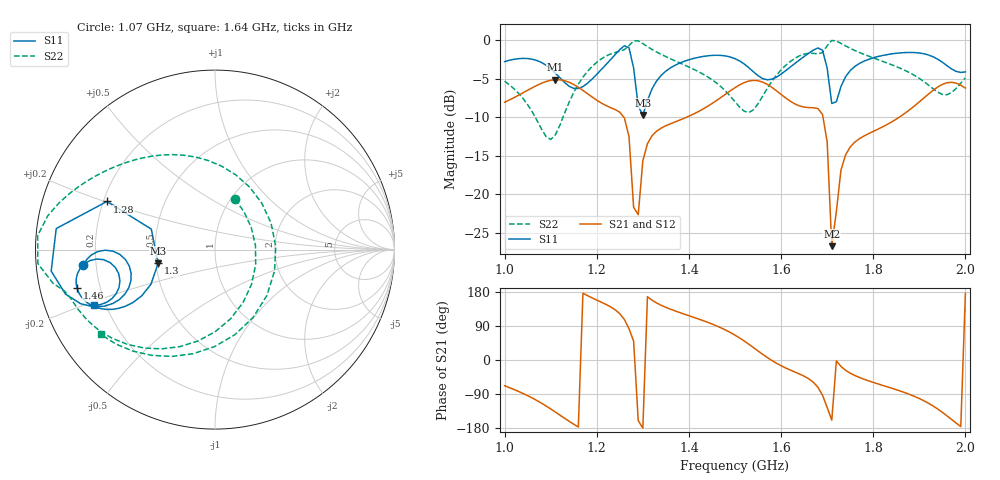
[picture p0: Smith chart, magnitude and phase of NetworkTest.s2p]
! AWR Design Environment (17415) Wed Apr 10 23:13:20 2024
! Document = 'Schematic 1'
! nPorts: 2, nXvals: 101
# GHz S DB R 50
!Freq DBS11 AngS11 DBS21 AngS21 DBS12 AngS12 DBS22 AngS22
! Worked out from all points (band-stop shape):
!   101 points, 1 GHz to 2 GHz, reference 50 ohm
!   highest |S21| = -5.13 dB at 1.11 GHz (marker M1); lowest = -26.8 dB at 1.71 GHz (marker M2)
!   |S21| within 3 dB of the highest: start of sweep to 1.209 GHz; 1.453 GHz to 1.626 GHz (173 MHz wide, 11.2 % of centre)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
!   lowest |S11| = -9.7 dB at 1.3 GHz (marker M3), VSWR 1.97, Z = 25.7 - j4.4 ohm
!   |S11| at or under -10 dB: nowhere
!   |S22| runs from -12.9 to 0.0 dB; largest |S21 - S12| = 0
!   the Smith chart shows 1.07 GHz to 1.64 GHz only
!   S11 on the Smith chart (normalised r, x): 1.07 GHz: 0.15, -0.06; 1.28 GHz: 0.21, +0.20; 1.3 GHz: 0.51, -0.09; 1.46 GHz: 0.11, -0.14; 1.64 GHz: 0.15, -0.21
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1  -2.78 -158.1  -8.06 -67.9  -8.06 -67.9  -5.32 121.4
1.07  -2.63 -173.3  -5.87 -106.9  -5.87 -106.9  -10.40 68.3
1.11  -4.27 -179.7  -5.13 -137.2  -5.13 -137.2  -12.33 -20.4
1.17  -6.03 -159.7  -6.52 176.3  -6.52 176.3  -4.81 -109.9
1.26  -0.72 -172.5  -10.12 106.7  -10.12 106.7  -1.22 -164.6
1.28  -3.62 156.0  -21.72 49.7  -21.72 49.7  -0.09 -175.5
1.29  -8.57 162.2  -22.67 -160.0  -22.67 -160.0  -0.08 175.5
1.3  -9.73 -166.4  -15.66 -179.8  -15.66 -179.8  -0.44 168.5
1.34  -4.56 -147.7  -11.42 144.2  -11.42 144.2  -1.84 151.8
1.46  -1.96 -164.4  -7.84 90.0  -7.84 90.0  -5.57 101.8
1.5  -2.40 -172.0  -6.17 65.6  -6.17 65.6  -8.00 61.1
1.54  -4.11 -174.8  -5.22 32.8  -5.22 32.8  -9.05 -19.9
1.58  -5.07 -161.7  -6.13 -1.3  -6.13 -1.3  -5.34 -90.3
1.64  -2.57 -155.3  -8.54 -37.0  -8.54 -37.0  -2.03 -143.4
1.67  -1.29 -164.2  -8.78 -58.7  -8.78 -58.7  -1.71 -161.1
1.7  -3.62 163.6  -13.20 -125.0  -13.20 -125.0  -0.72 -168.3
1.71  -8.23 173.8  -26.77 -158.9  -26.77 -158.9  -0.03 -177.0
1.74  -4.74 -147.2  -14.90 -27.1  -14.90 -27.1  -0.75 162.6
1.84  -1.78 -158.4  -10.62 -74.4  -10.62 -74.4  -3.19 125.3
1.91  -1.76 -168.2  -7.50 -107.6  -7.50 -107.6  -5.38 79.1
1.95  -2.86 -172.9  -5.74 -138.1  -5.74 -138.1  -7.04 17.8
2  -4.12 -161.8  -6.22 175.9  -6.22 175.9  -4.89 -80.4
